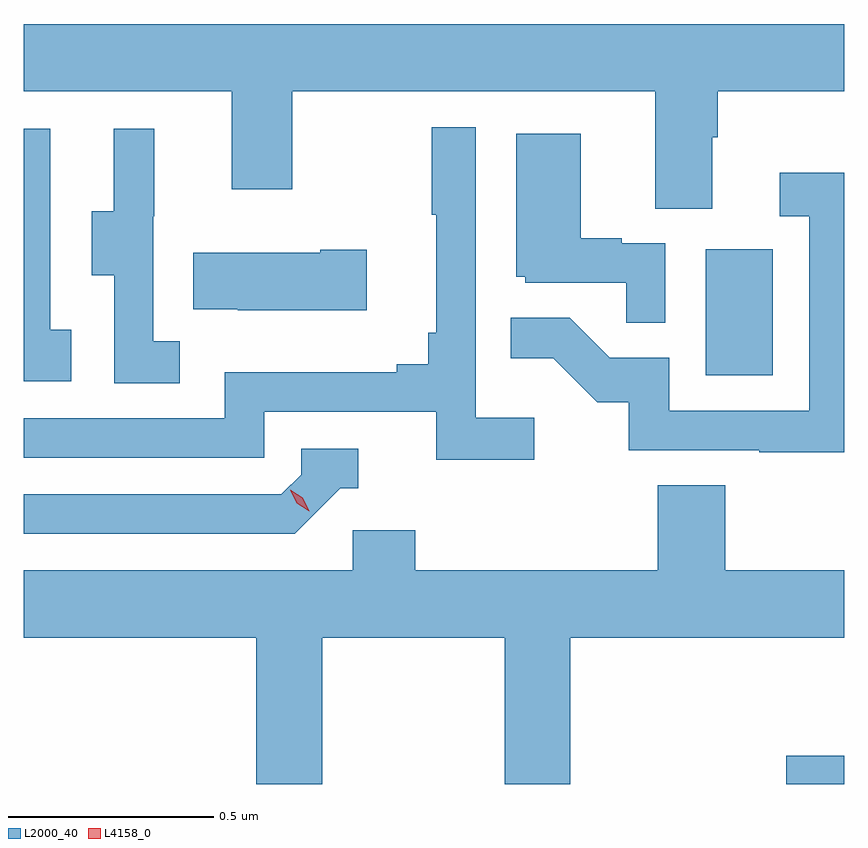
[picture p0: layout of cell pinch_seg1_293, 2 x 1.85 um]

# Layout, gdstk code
import gdstk
lib = gdstk.Library(unit=1e-6, precision=1e-09)
def R(c, l, rs):  # rectangles x0, y0, x1, y1
    for r in rs: c.add(gdstk.rectangle(r[:2], r[2:], *l))
def P(c, l, *ps):  # polygons
    for p in ps: c.add(gdstk.Polygon(p, *l))
L2000_40 = (2000, 40)
L4158_0 = (4158, 0)

pinch_seg1_293 = lib.new_cell('pinch_seg1_293')
R(pinch_seg1_293, L2000_40, [(946.333,562.031,946.474,562.1), (946.136,563.028,946.3,563.335)])
P(pinch_seg1_293, L2000_40, [(946.153,563.608),(946.166,563.608),(946.166,563.72),(946.474,563.72),(946.474,563.884),(944.474,563.884),(944.474,563.72),(944.981,563.72),(944.981,563.481),(945.129,563.481),(945.129,563.72),(946.013,563.72),(946.013,563.434),(946.153,563.434)],
  [(945.718,562.924),(945.576,562.924),(945.576,563.632),(945.468,563.632),(945.468,563.419),(945.479,563.419),(945.479,563.131),(945.46,563.131),(945.46,563.054),(945.383,563.054),(945.383,563.035),(944.964,563.035),(944.964,562.923),(944.474,562.923),(944.474,562.827),(945.06,562.827),(945.06,562.938),(945.479,562.938),(945.479,562.822),(945.718,562.822)],
  [(944.854,563.111),(944.79,563.111),(944.79,563.415),(944.792,563.415),(944.792,563.629),(944.693,563.629),(944.693,563.427),(944.639,563.427),(944.639,563.272),(944.694,563.272),(944.694,563.008),(944.854,563.008)],
  [(944.59,563.138),(944.538,563.138),(944.538,563.629),(944.474,563.629),(944.474,563.013),(944.59,563.013)],
  [(946.038,563.349),(945.932,563.349),(945.932,563.362),(945.832,563.362),(945.832,563.617),(945.674,563.617),(945.674,563.268),(945.696,563.268),(945.696,563.253),(945.943,563.253),(945.943,563.155),(946.038,563.155)],
  [(946.474,563.521),(946.317,563.521),(946.317,563.415),(946.389,563.415),(946.389,562.941),(946.047,562.941),(946.047,563.07),(945.903,563.07),(945.805,563.168),(945.661,563.168),(945.661,563.069),(945.765,563.069),(945.872,562.962),(945.949,562.962),(945.949,562.845),(946.267,562.845),(946.267,562.84),(946.474,562.84)],
  [(945.31,563.334),(945.197,563.334),(945.197,563.326),(944.887,563.326),(944.887,563.189),(944.995,563.189),(944.995,563.186),(945.31,563.186)],
  [(945.246,562.752),(945.289,562.752),(945.289,562.848),(945.15,562.848),(945.15,562.785),(945.102,562.737),(944.474,562.737),(944.474,562.641),(945.135,562.641)],
  [(945.201,562.388),(945.646,562.388),(945.646,562.031),(945.806,562.031),(945.806,562.388),(946.474,562.388),(946.474,562.552),(946.184,562.552),(946.184,562.76),(946.019,562.76),(946.019,562.552),(945.428,562.552),(945.428,562.65),(945.276,562.65),(945.276,562.552),(944.474,562.552),(944.474,562.388),(945.041,562.388),(945.041,562.031),(945.201,562.031)])
P(pinch_seg1_293, L4158_0, [(945.17,562.696),(945.139,562.716),(945.124,562.748),(945.124,562.749),(945.124,562.749),(945.154,562.729),(945.17,562.697),(945.17,562.696)])

lib.write_gds('pinch_seg1_293.gds')
